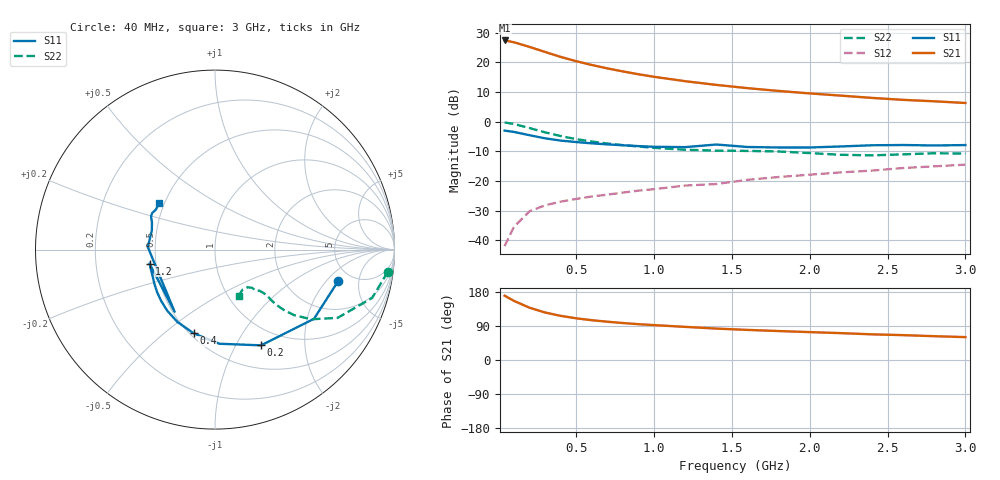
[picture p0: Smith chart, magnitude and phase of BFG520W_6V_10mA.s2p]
! Filename:  BFG520WI.S2P  Version:  4.0
! Philips part #: BFG520  Date: Jun 1994
! Bias condition: Vce=6.0V, Ic=10.0mA
! IN LINE PINNING: same data as with cross emitter pinning.
#  MHz  S  MA  R  50
! Freq  S11  S21  S12  S22  !GUM [dB]
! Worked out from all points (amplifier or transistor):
!   21 points, 40 MHz to 3 GHz, reference 50 ohm
!   highest |S21| = 27.4 dB at 40 MHz (marker M1)
!   |S21| within 3 dB of that: start of sweep to 248.5 MHz
!   unconditionally stable (mu >= 1): 1.127 GHz to end of sweep
!   at 300 MHz: K = 0.43, MSG = 25.8 dB, |S12| = -28.2 dB
!   at 1 GHz: K = 0.96, MSG = 18.9 dB, |S12| = -22.7 dB
!   at 3 GHz: K = 1.11, MAG = 8.4 dB, |S12| = -14.5 dB
!   S11 on the Smith chart (normalised r, x): 40 MHz: 3.84, -2.71; 200 MHz: 0.78, -1.27; 400 MHz: 0.52, -0.63; 1.2 GHz: 0.46, -0.08; 3 GHz: 0.47, +0.29
40  0.708 -14.4  23.39 169.7  0.008 82.4  0.971 -7.3
100  0.673 -35.0  21.82 156.0  0.017 74.3  0.916 -17.1
200  0.592 -64.3  18.22 138.0  0.031 64.2  0.782 -29.1
300  0.525 -87.4  14.97 125.3  0.039 58.4  0.662 -35.9
400  0.481 -104.4  12.36 116.5  0.045 57.5  0.573 -39.6
500  0.454 -117.6  10.46 110.0  0.05 57.3  0.509 -41.3
600  0.432 -128.0  9.03 105.0  0.055 57.4  0.464 -41.9
700  0.415 -136.1  7.92 101.0  0.059 58.7  0.429 -42.0
800  0.401 -143.3  7.032 97.5  0.064 60.3  0.403 -41.7
900  0.388 -150.5  6.3 94.5  0.069 61.8  0.382 -41.6
1000  0.378 -156.6  5.714 92.1  0.073 63.2  0.363 -41.8
1200  0.373 -168.0  4.816 87.4  0.084 65.1  0.337 -42.8
1400  0.413 -123.0  4.173 82.9  0.089 67.0  0.326 -44.6
1600  0.375 177.7  3.678 79.4  0.105 68.8  0.322 -45.3
1800  0.368 170.6  3.3 76.4  0.117 69.4  0.315 -45.3
2000  0.368 162.9  2.997 73.6  0.128 70.3  0.296 -45.9
2200  0.383 156.5  2.751 70.9  0.14 70.6  0.277 -49.3
2400  0.401 152.7  2.518 67.7  0.15 72.0  0.271 -55.5
2600  0.405 149.8  2.335 65.6  0.166 72.3  0.282 -60.5
2800  0.398 146.0  2.208 62.8  0.177 71.9  0.294 -62.2
3000  0.404 140.2  2.068 60.4  0.189 72.3  0.29 -62.5
